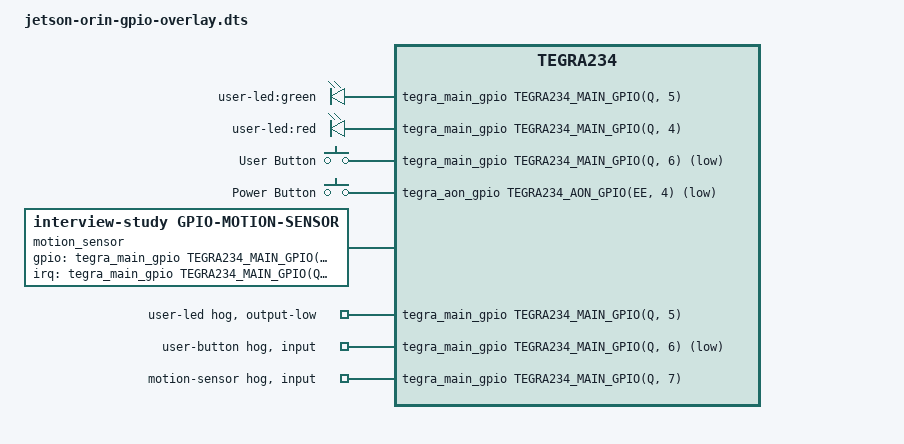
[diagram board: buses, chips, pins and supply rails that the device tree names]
/*
 * jetson-orin-gpio-overlay.dts - GPIO device tree overlay for Jetson Orin AGX
 *
 * This overlay configures GPIO pins on the 40-pin expansion header for
 * various use cases including button input, LED output, and interrupt handling.
 *
 * Compile with:
 *   dtc -@ -I dts -O dtb -o jetson-orin-gpio-overlay.dtbo jetson-orin-gpio-overlay.dts
 *
 * Apply overlay:
 *   sudo /opt/nvidia/jetson-io/jetson-io.py
 *   or manually copy to /boot/dtb/ and update extlinux.conf
 *
 * Learning objectives:
 * 1. Understand device tree overlay syntax
 * 2. Learn GPIO pin configuration and muxing
 * 3. Practice interrupt configuration
 * 4. Handle pinctrl settings for Tegra
 */

/dts-v1/;
/plugin/;

/ {
    /* Overlay metadata */
    compatible = "nvidia,p3737-0000+p3701-0000", "nvidia,tegra234";

    /* Overlay fragment targeting GPIO controller */
    fragment@0 {
        target = <&tegra_main_gpio>;

        __overlay__ {
            /* GPIO pin configuration for custom application */

            /* LED control GPIO - PQ.05 (GPIO448) - Pin 31 on 40-pin header */
            gpio_led_pins: gpio-led-pins {
                /* Configure as output, initially low */
                gpio-hog;
                gpios = <TEGRA234_MAIN_GPIO(Q, 5) GPIO_ACTIVE_HIGH>;
                output-low;
                label = "user-led";
                status = "okay";
            };

            /* Button input GPIO - PQ.06 (GPIO449) - Pin 33 on 40-pin header */
            gpio_button_pins: gpio-button-pins {
                /* Configure as input with pull-up */
                gpio-hog;
                gpios = <TEGRA234_MAIN_GPIO(Q, 6) GPIO_ACTIVE_LOW>;
                input;
                label = "user-button";
                status = "okay";
            };

            /* Interrupt-capable GPIO - PQ.07 (GPIO450) - Pin 35 on 40-pin header */
            gpio_interrupt_pins: gpio-interrupt-pins {
                /* Configure as input for interrupt handling */
                gpio-hog;
                gpios = <TEGRA234_MAIN_GPIO(Q, 7) GPIO_ACTIVE_HIGH>;
                input;
                label = "motion-sensor";
                status = "okay";
            };
        };
    };

    /* Fragment for pinmux configuration */
    fragment@1 {
        target = <&pinmux>;

        __overlay__ {
            /* Pinmux settings to ensure pins are configured as GPIO */

            gpio_custom_pins: gpio-custom-pins {
                gpio-led {
                    /* Pin PQ.05 - Configure as GPIO output */
                    nvidia,pins = "pq.05";
                    nvidia,function = "gpio";
                    nvidia,pull = <TEGRA_PIN_PULL_NONE>;
                    nvidia,tristate = <TEGRA_PIN_DISABLE>;
                    nvidia,enable-input = <TEGRA_PIN_DISABLE>;
                };

                gpio-button {
                    /* Pin PQ.06 - Configure as GPIO input with pull-up */
                    nvidia,pins = "pq.06";
                    nvidia,function = "gpio";
                    nvidia,pull = <TEGRA_PIN_PULL_UP>;
                    nvidia,tristate = <TEGRA_PIN_DISABLE>;
                    nvidia,enable-input = <TEGRA_PIN_ENABLE>;
                };

                gpio-interrupt {
                    /* Pin PQ.07 - Configure as GPIO input for interrupts */
                    nvidia,pins = "pq.07";
                    nvidia,function = "gpio";
                    nvidia,pull = <TEGRA_PIN_PULL_NONE>;
                    nvidia,tristate = <TEGRA_PIN_DISABLE>;
                    nvidia,enable-input = <TEGRA_PIN_ENABLE>;
                };
            };
        };
    };

    /* Fragment for custom GPIO device node */
    fragment@2 {
        target-path = "/";

        __overlay__ {
            /* GPIO-based LED device */
            gpio_leds {
                compatible = "gpio-leds";
                status = "okay";

                user-led-green {
                    label = "user-led:green";
                    gpios = <&tegra_main_gpio TEGRA234_MAIN_GPIO(Q, 5) GPIO_ACTIVE_HIGH>;
                    default-state = "off";
                    linux,default-trigger = "none";
                    retain-state-suspended;
                };

                user-led-red {
                    label = "user-led:red";
                    gpios = <&tegra_main_gpio TEGRA234_MAIN_GPIO(Q, 4) GPIO_ACTIVE_HIGH>;
                    default-state = "off";
                    linux,default-trigger = "heartbeat";
                };
            };

            /* GPIO-based button device */
            gpio_keys {
                compatible = "gpio-keys";
                status = "okay";

                user-button {
                    label = "User Button";
                    gpios = <&tegra_main_gpio TEGRA234_MAIN_GPIO(Q, 6) GPIO_ACTIVE_LOW>;
                    linux,code = <KEY_PROG1>;  /* Key code from linux/input-event-codes.h */
                    debounce-interval = <50>;  /* 50ms debounce */
                    gpio-key,wakeup;
                };

                power-button {
                    label = "Power Button";
                    gpios = <&tegra_aon_gpio TEGRA234_AON_GPIO(EE, 4) GPIO_ACTIVE_LOW>;
                    linux,code = <KEY_POWER>;
                    debounce-interval = <100>;
                    gpio-key,wakeup;
                };
            };

            /* Custom GPIO device for motion sensor */
            motion_sensor {
                compatible = "interview-study,gpio-motion-sensor";
                gpios = <&tegra_main_gpio TEGRA234_MAIN_GPIO(Q, 7) GPIO_ACTIVE_HIGH>;
                interrupt-parent = <&tegra_main_gpio>;
                interrupts = <TEGRA234_MAIN_GPIO(Q, 7) IRQ_TYPE_EDGE_RISING>;
                interrupt-names = "motion-detected";
                status = "okay";
            };
        };
    };
};

/*
 * GPIO Pin Mapping Reference for Jetson Orin AGX 40-pin Header:
 *
 * Pin  | Signal Name | GPIO Name | Linux GPIO | Function
 * -----|-------------|-----------|------------|----------
 *  3   | I2C2_SDA    | PZ.03     | 515        | I2C/GPIO
 *  5   | I2C2_SCL    | PZ.02     | 514        | I2C/GPIO
 *  7   | GPIO09      | PQ.06     | 449        | GPIO
 *  11  | UART1_RTS   | PR.04     | 455        | UART/GPIO
 *  12  | I2S0_SCLK   | PJ.00     | 388        | I2S/GPIO
 *  13  | SPI1_SCK    | PZ.05     | 517        | SPI/GPIO
 *  15  | GPIO12      | PH.00     | 372        | GPIO
 *  16  | SPI1_CS1    | PZ.06     | 518        | SPI/GPIO
 *  18  | SPI1_CS0    | PZ.07     | 519        | SPI/GPIO
 *  19  | SPI0_MOSI   | PG.06     | 370        | SPI/GPIO
 *  21  | SPI0_MISO   | PG.05     | 369        | SPI/GPIO
 *  22  | GPIO27      | PN.01     | 421        | GPIO
 *  23  | SPI0_SCK    | PG.04     | 368        | SPI/GPIO
 *  24  | SPI0_CS0    | PG.07     | 371        | SPI/GPIO
 *  26  | SPI0_CS1    | PZ.04     | 516        | SPI/GPIO
 *  29  | GPIO05      | PAC.06    | 545        | GPIO
 *  31  | GPIO06      | PQ.05     | 448        | GPIO
 *  32  | GPIO07      | PN.00     | 420        | GPIO
 *  33  | GPIO13      | PQ.06     | 449        | GPIO
 *  35  | I2S0_FS     | PJ.02     | 390        | I2S/GPIO
 *  36  | UART1_CTS   | PR.05     | 456        | UART/GPIO
 *  37  | GPIO26      | PN.02     | 422        | GPIO
 *  38  | I2S0_DIN    | PJ.03     | 391        | I2S/GPIO
 *  40  | I2S0_DOUT   | PJ.01     | 389        | I2S/GPIO
 */

/*
 * Tegra234 GPIO Banks and Base Addresses:
 *
 * Main GPIO Controller (tegra_main_gpio):
 * - Port A-AG: GPIOs 316-579
 * - Base address: 0x2200000
 *
 * AON GPIO Controller (tegra_aon_gpio):
 * - Port AA-EE: GPIOs 0-41
 * - Base address: 0xc2f0000
 */

/*
 * Common GPIO flags (from include/dt-bindings/gpio/gpio.h):
 * - GPIO_ACTIVE_HIGH: Pin is active when high (1)
 * - GPIO_ACTIVE_LOW: Pin is active when low (0)
 * - GPIO_OPEN_DRAIN: Pin is open-drain
 * - GPIO_OPEN_SOURCE: Pin is open-source
 * - GPIO_PULL_UP: Enable internal pull-up
 * - GPIO_PULL_DOWN: Enable internal pull-down
 */

/*
 * Interrupt types (from include/dt-bindings/interrupt-controller/irq.h):
 * - IRQ_TYPE_EDGE_RISING: Trigger on rising edge
 * - IRQ_TYPE_EDGE_FALLING: Trigger on falling edge
 * - IRQ_TYPE_EDGE_BOTH: Trigger on both edges
 * - IRQ_TYPE_LEVEL_HIGH: Trigger when level is high
 * - IRQ_TYPE_LEVEL_LOW: Trigger when level is low
 */

/*
 * Usage in kernel driver:
 *
 * #include <linux/gpio/consumer.h>
 *
 * struct gpio_desc *led_gpio;
 * led_gpio = gpiod_get(&pdev->dev, "user-led", GPIOD_OUT_LOW);
 * if (IS_ERR(led_gpio)) {
 *     dev_err(&pdev->dev, "Failed to get LED GPIO\n");
 *     return PTR_ERR(led_gpio);
 * }
 *
 * gpiod_set_value(led_gpio, 1);  // Turn on
 * gpiod_set_value(led_gpio, 0);  // Turn off
 * gpiod_put(led_gpio);            // Release
 */

/*
 * Testing the overlay:
 *
 * 1. Compile the overlay:
 *    dtc -@ -I dts -O dtb -o jetson-orin-gpio-overlay.dtbo jetson-orin-gpio-overlay.dts
 *
 * 2. Install to boot partition:
 *    sudo cp jetson-orin-gpio-overlay.dtbo /boot/dtb/
 *
 * 3. Add to extlinux.conf:
 *    FDTOVERLAYS /boot/dtb/jetson-orin-gpio-overlay.dtbo
 *
 * 4. Reboot and verify:
 *    ls /sys/class/leds/          # Check LED devices
 *    ls /sys/class/gpio/          # Check GPIO exports
 *    cat /proc/device-tree/gpio_leds/user-led-green/label
 *
 * 5. Control LED:
 *    echo 1 > /sys/class/leds/user-led:green/brightness
 *    echo 0 > /sys/class/leds/user-led:green/brightness
 *
 * 6. Monitor button:
 *    evtest /dev/input/eventX     # Press button to see events
 */
